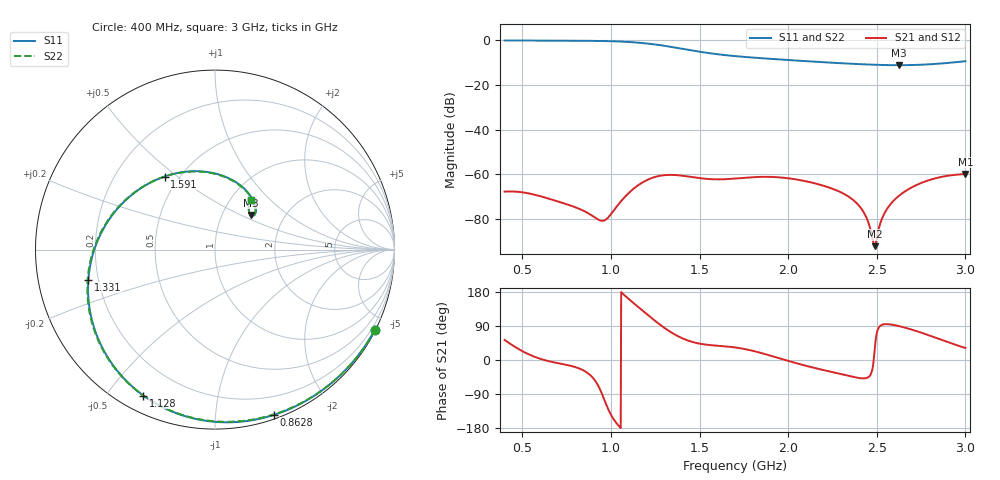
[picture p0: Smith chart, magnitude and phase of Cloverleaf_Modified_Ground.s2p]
! TOUCHSTONE file generated by CST MICROWAVE STUDIO
! Date and time: Tue Dec 31 11:45:47 2019
! Project name: Cloverleaf_Modified_Ground.cst
! Parameters = {A=0.0005; Dgp=0.033; Lgp=0.1; Lhorn=0.03; Lmax=0.015; Lmin=0.001; b=90.2683; dLhorn=1000}
! Header version: 2015
! Port assignment regex: !\s*Touchstone port\s*([0-9]+)\s*=\s*CST MWS port\s*([0-9]+)\s*\(\"(.*)\"\)(\s*mode\s*([0-9]+))?.*
! Touchstone port assignment:
! Touchstone port 1 = CST MWS port 1 ("")
! Touchstone port 2 = CST MWS port 2 ("")
# Hz S MA R 100
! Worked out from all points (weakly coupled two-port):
!   1003 points, 400 MHz to 3 GHz, reference 100 ohm
!   highest |S21| = -59.95 dB at 3 GHz (marker M1); lowest = -92.3 dB at 2.488 GHz (marker M2)
!   lowest |S11| = -11.1 dB at 2.623 GHz (marker M3), VSWR 1.77, Z = 136 + j57.1 ohm
!   |S11| at or under -10 dB: 2.243 GHz to 2.917 GHz (673.6 MHz wide, 26.1 % of centre)
!   |S22| runs from -11.1 to 0.0 dB; largest |S21 - S12| = 4.2e-06
!   S11 on the Smith chart (normalised r, x): 400 MHz: 0.04, -4.23; 862.8 MHz: 0.03, -1.42; 1.128 GHz: 0.07, -0.62; 1.331 GHz: 0.16, -0.11; 1.591 GHz: 0.42, +0.45; 3 GHz: 1.24, +0.77
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4e8  0.9962 -26.6  0.000406 53.1  0.0004059 53.1  0.997 -26.6
5.638e8  0.9906 -39.4  0.0003503 9.4  0.0003509 9.4  0.991 -39.5
8.342e8  0.9798 -66.8  0.0001587 -25.0  0.0001598 -24.2  0.9773 -66.7
8.628e8  0.9779 -70.4  0.0001393 -32.4  0.0001405 -31.6  0.9751 -70.3
9.772e8  0.9632 -87.2  0.0001001 -121.6  9.999e-05 -120.8  0.9607 -86.9
1.128e9  0.9059 -116.1  0.0004724 149.9  0.0004721 149.9  0.9075 -115.6
1.2684e9  0.7908 -150.0  0.0009067 96.3  0.0009065 96.3  0.7964 -149.6
1.3308e9  0.725 -166.7  0.0009635 75.6  0.0009632 75.6  0.7307 -166.3
1.4634e9  0.589 157.2  0.0008548 47.2  0.0008546 47.1  0.592 157.3
1.5908e9  0.4948 124.6  0.0007662 38.1  0.0007662 38.2  0.4947 124.7
1.7e9  0.444 100.7  0.0007985 33.2  0.0007987 33.2  0.4423 100.8
1.895e9  0.387 69.5  0.00087 12.2  0.0008681 12.2  0.385 69.6
2.1342e9  0.3356 48.7  0.0006471 -19.3  0.0006486 -19.4  0.3342 48.8
2.3292e9  0.3028 42.0  0.0003356 -40.6  0.0003376 -40.2  0.3016 42.0
2.3916e9  0.2944 41.3  0.0002134 -47.0  0.0002175 -47.1  0.2932 41.4
2.4488e9  0.2878 41.3  9.072e-05 -46.3  9.161e-05 -47.4  0.2867 41.4
2.4878e9  0.2841 41.5  2.43e-05 25.4  2.437e-05 24.8  0.2831 41.6
2.5268e9  0.2811 42.1  9.457e-05 92.4  9.424e-05 91.5  0.2802 42.2
2.5684e9  0.2789 42.8  0.0001909 94.3  0.0001896 93.8  0.2781 42.9
2.623e9  0.2778 44.2  0.0003221 89.7  0.0003203 89.5  0.2771 44.3
2.7894e9  0.2896 49.4  0.0007235 65.9  0.0007238 65.8  0.2891 49.4
3e9  0.3413 54.0  0.001006 31.6  0.001006 31.6  0.3405 53.9
